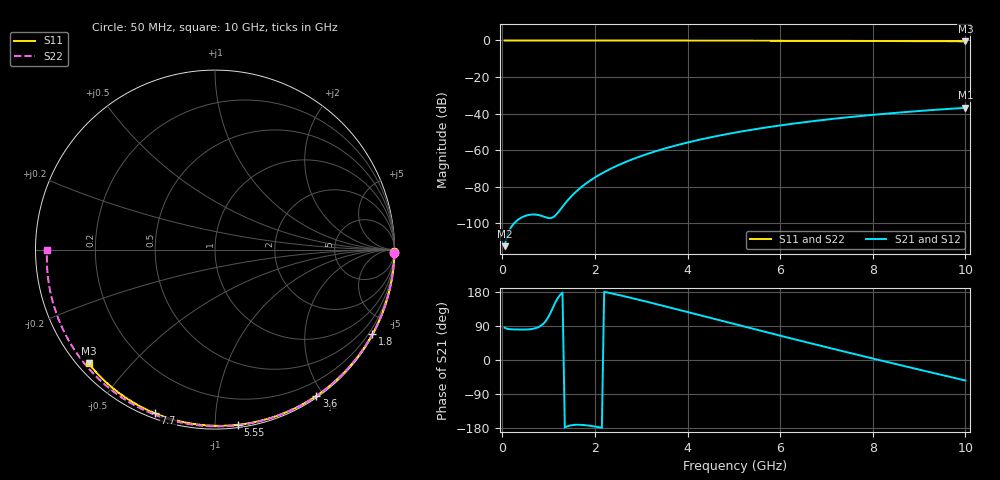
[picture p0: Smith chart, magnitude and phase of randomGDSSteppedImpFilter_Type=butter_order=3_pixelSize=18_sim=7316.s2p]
! freq	dB(S11)	phase(S11)	dB(S12)	phase(S12)
!  dB(S21)	phase(S21)	dB(S22)	phase(S22)
!S-par simulation data
#  GHz  S  DB  R 50
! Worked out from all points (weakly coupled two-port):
!   200 points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, 50 MHz to 10 GHz, reference 50 ohm
!   highest |S21| = -36.85 dB at 10 GHz (marker M1); lowest = -112.5 dB at 50 MHz (marker M2)
!   lowest |S11| = -0.5 dB at 10 GHz (marker M3), VSWR 37.08, Z = 1.55 - j19.2 ohm
!   |S11| at or under -10 dB: nowhere
!   |S22| runs from -0.6 to 0.0 dB; largest |S21 - S12| = 0
!   S11 on the Smith chart (normalised r, x): 50 MHz: open; 1.8 GHz: 0.03, -3.97; 3.6 GHz: 0.02, -1.91; 5.55 GHz: 0.02, -1.14; 7.7 GHz: 0.02, -0.70; 10 GHz: 0.03, -0.38
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0.05  -0.00 -0.8  -112.53 85.3  -112.53 85.3  -0.00 -1.0
0.45  -0.01 -7.2  -96.43 80.3  -96.43 80.3  -0.01 -9.4
0.85  -0.02 -13.5  -95.94 91.9  -95.94 91.9  -0.02 -17.7
1.25  -0.02 -19.8  -92.59 171.9  -92.59 171.9  -0.03 -25.9
1.7  -0.03 -26.8  -80.36 -171.1  -80.36 -171.1  -0.04 -35.0
1.75  -0.04 -27.5  -79.35 -171.5  -79.35 -171.5  -0.05 -36.0
1.8  -0.04 -28.3  -78.39 -172.1  -78.39 -172.1  -0.05 -37.0
2.1  -0.04 -32.9  -73.42 -177.7  -73.42 -177.7  -0.05 -42.9
2.3  -0.05 -36.0  -70.68 177.4  -70.68 177.4  -0.06 -46.9
2.5  -0.05 -39.0  -68.26 172.0  -68.26 172.0  -0.06 -50.8
2.9  -0.06 -45.0  -64.13 160.4  -64.13 160.4  -0.08 -58.5
3.4  -0.07 -52.4  -59.92 145.2  -59.92 145.2  -0.09 -67.9
3.6  -0.07 -55.3  -58.46 139.0  -58.46 139.0  -0.10 -71.6
4.3  -0.09 -65.3  -54.07 117.2  -54.07 117.2  -0.12 -84.3
5.05  -0.12 -75.7  -50.30 93.7  -50.30 93.7  -0.15 -97.5
5.55  -0.14 -82.5  -48.17 78.1  -48.17 78.1  -0.17 -106.0
6.1  -0.16 -89.8  -46.12 61.2  -46.12 61.2  -0.20 -115.2
6.7  -0.19 -97.5  -44.16 42.8  -44.16 42.8  -0.24 -125.1
7.7  -0.25 -110.1  -41.41 12.8  -41.41 12.8  -0.32 -141.4
8.35  -0.30 -118.1  -39.91 -6.4  -39.91 -6.4  -0.38 -152.0
9.2  -0.38 -128.4  -38.21 -31.1  -38.21 -31.1  -0.48 -166.1
10  -0.47 -138.0  -36.85 -54.1  -36.85 -54.1  -0.58 -179.8
